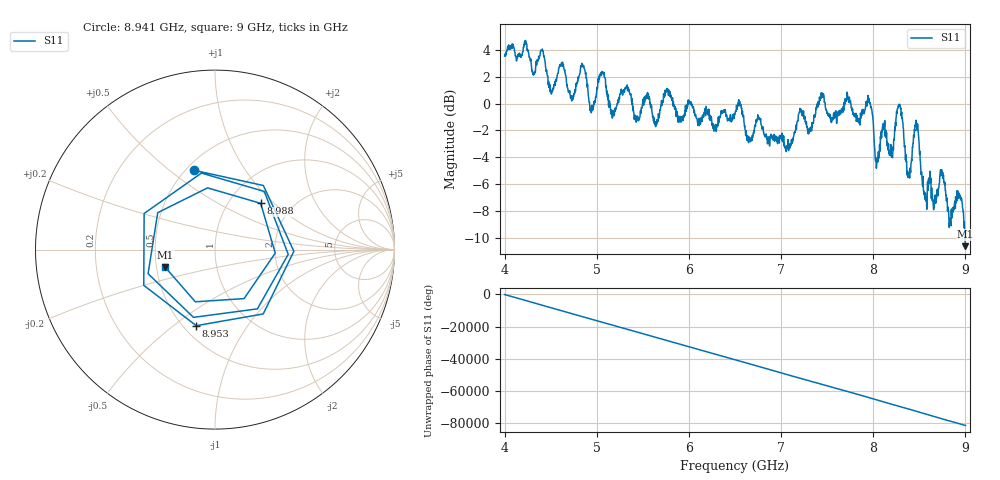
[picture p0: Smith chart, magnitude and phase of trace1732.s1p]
! Created with skrf 1.8.0 (http://scikit-rf.org).
# Hz S RI R 50.0
!freq ReS11 ImS11
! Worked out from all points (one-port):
!   1601 points, 4 GHz to 9 GHz, reference 50 ohm
!   lowest |S11| = -10.6 dB at 9 GHz (marker M1), VSWR 1.83, Z = 27.8 - j6.01 ohm
!   |S11| at or under -10 dB: 8.994574 GHz to end of sweep
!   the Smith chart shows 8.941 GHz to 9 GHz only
!   S11 on the Smith chart (normalised r, x): 8.941 GHz: 0.55, +0.61; 8.953 GHz: 0.58, -0.61; 8.988 GHz: 1.40, +0.83; 9 GHz: 0.56, -0.12
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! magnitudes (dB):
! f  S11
! 4 GHz  3.6
! 4.409 GHz  4.1
! 4.506 GHz  0.7
! 4.625 GHz  2.8
! 4.734 GHz  0.6
! 4.856 GHz  2.9
! 4.941 GHz  -0.7
! 5.053 GHz  2.3
! 5.166 GHz  -0.6
! 5.25 GHz  0.7
! 5.875 GHz  -0.9
! 6.5 GHz  -0.8
! 7.125 GHz  -2.6
! 7.441 GHz  0.8
! 7.75 GHz  0.2
! 7.959 GHz  0.0
! 8.041 GHz  -4.3
! 8.109 GHz  -1.5
! 8.194 GHz  -3.6
! 8.284 GHz  -0.1
! 8.375 GHz  -5.3
! 8.469 GHz  -1.6
! 8.559 GHz  -7.0
! 8.747 GHz  -5.3
! 8.941 GHz  -6.8
! 8.953 GHz  -7.2
! 8.988 GHz  -8.8
! 9 GHz  -10.6
